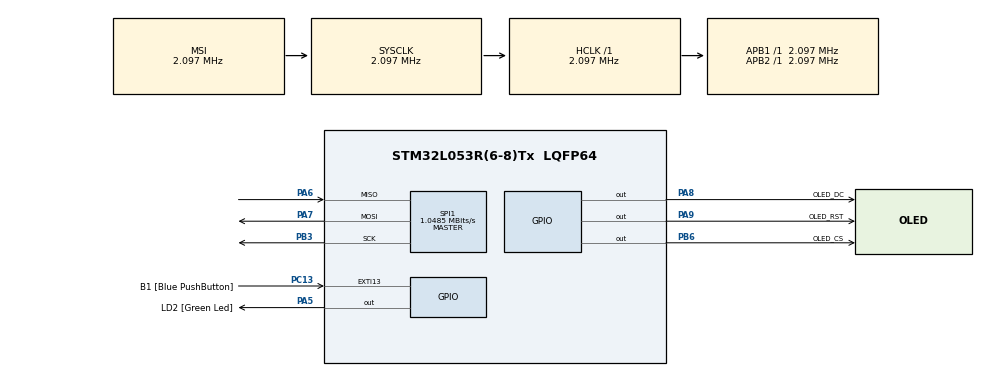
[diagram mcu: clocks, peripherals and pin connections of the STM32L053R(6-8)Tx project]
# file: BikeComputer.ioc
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Mcu.Family=STM32L0
Mcu.Name=STM32L053R(6-8)Tx
Mcu.Package=LQFP64
PA13.GPIO_Label=TMS
PA13.Mode=Serial_Wire
PA13.Signal=SYS_SWDIO
PA14.GPIO_Label=TCK
PA14.Mode=Serial_Wire
PA14.Signal=SYS_SWCLK
PA2.GPIO_Label=USART_TX
PA2.Signal=USART2_TX
PA3.GPIO_Label=USART_RX
PA3.Signal=USART2_RX
PA5.GPIO_Label=LD2 [Green Led]
PA5.Signal=GPIO_Output
PA6.Mode=Full_Duplex_Master
PA6.Signal=SPI1_MISO
PA7.Mode=Full_Duplex_Master
PA7.Signal=SPI1_MOSI
PA8.GPIO_Label=OLED_DC
PA8.Signal=GPIO_Output
PA9.GPIO_Label=OLED_RST
PA9.Signal=GPIO_Output
PB3.Mode=Full_Duplex_Master
PB3.Signal=SPI1_SCK
PB6.GPIO_Label=OLED_CS
PB6.Signal=GPIO_Output
PC13.GPIO_Label=B1 [Blue PushButton]
PC13.GPIO_ModeDefaultEXTI=GPIO_MODE_IT_FALLING
PC13.Signal=GPXTI13
PC14-OSC32_IN.Mode=LSE-External-Oscillator
PC14-OSC32_IN.Signal=RCC_OSC32_IN
PC15-OSC32_OUT.Mode=LSE-External-Oscillator
PC15-OSC32_OUT.Signal=RCC_OSC32_OUT
PH0-OSC_IN.Mode=HSE-External-Clock-Source
PH0-OSC_IN.Signal=RCC_OSC_IN
PH1-OSC_OUT.Signal=RCC_OSC_OUT
ProjectManager.HeapSize=0x200
ProjectManager.StackSize=0x400
ProjectManager.TargetToolchain=SW4STM32
RCC.AHBFreq_Value=2097000
RCC.APB1Freq_Value=2097000
RCC.APB1TimFreq_Value=2097000
RCC.APB2Freq_Value=2097000
RCC.APB2TimFreq_Value=2097000
RCC.HSE_VALUE=8000000
RCC.HSI16_VALUE=16000000
RCC.HSI48_VALUE=48000000
RCC.HSI_VALUE=16000000
RCC.MSI_VALUE=2097000
RCC.SYSCLKFreq_VALUE=2097000
RCC.VCOOutputFreq_Value=48000000
SPI1.CalculateBaudRate=1.0485 MBits/s
SPI1.Direction=SPI_DIRECTION_2LINES
SPI1.Mode=SPI_MODE_MASTER
SPI1.VirtualType=VM_MASTER
board=NUCLEO-L053R8

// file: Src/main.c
/* USER CODE BEGIN Header */
/**
  ******************************************************************************
  * @file           : main.c
  * @brief          : Main program body
  ******************************************************************************
  * @attention
  *
  * <h2><center>&copy; Copyright (c) 2020 STMicroelectronics.
  * All rights reserved.</center></h2>
  *
  * This software component is licensed by ST under BSD 3-Clause license,
  * the "License"; You may not use this file except in compliance with the
  * License. You may obtain a copy of the License at:
  *                        opensource.org/licenses/BSD-3-Clause
  *
  ******************************************************************************
  */
/* USER CODE END Header */

#include "main.h"
#include "OLED_Driver.h"
#include "OLED_GUI.h"

SPI_HandleTypeDef hspi1;

void SystemClock_Config(void);
static void MX_GPIO_Init(void);
static void MX_SPI1_Init(void);

int main(void)
{

  /* MCU Configuration--------------------------------------------------------*/

  /* Reset of all peripherals, Initializes the Flash interface and the Systick. */
  HAL_Init();

  /* Configure the system clock */
  SystemClock_Config();

  /* Initialize all configured peripherals */
  MX_GPIO_Init();
  MX_SPI1_Init();
  /* USER CODE BEGIN 2 */

  	printf("OLED_Init()...\r\n");
  	OLED_Init();

  	printf("OLED_Show()...\r\n");
  	GUI_Show();

  	OLED_Clear(OLED_BACKGROUND);//OLED_BACKGROUND
  	OLED_Display();

  	printf("Show Pic\r\n");
  	GUI_Disbitmap(0  , 2, Signal816  , 16, 8);
  	GUI_Disbitmap(24 , 2, Bluetooth88, 8 , 8);
  	GUI_Disbitmap(40 , 2, Msg816     , 16, 8);
  	GUI_Disbitmap(64 , 2, GPRS88     , 8 , 8);
  	GUI_Disbitmap(90 , 2, Alarm88    , 8 , 8);
  	GUI_Disbitmap(112, 2, Bat816     , 16, 8);

  	printf("Show 16 Gray Map\r\n");
  	GUI_DisGrayMap(0, 73, gImage_flower);

  	GUI_DisString_EN(0 , 52, "MUSIC", &Font12, FONT_BACKGROUND, WHITE);
  	GUI_DisString_EN(48, 52, "MENU" , &Font12, FONT_BACKGROUND, WHITE);
  	GUI_DisString_EN(90, 52, "PHONE", &Font12, FONT_BACKGROUND, WHITE);

  	OLED_Display();

  /* USER CODE END 2 */

  /* Infinite loop */
  while (1)
  {

  }
}

void SystemClock_Config(void)
{
  RCC_OscInitTypeDef RCC_OscInitStruct = {0};
  RCC_ClkInitTypeDef RCC_ClkInitStruct = {0};

  /** Configure the main internal regulator output voltage
  */
  __HAL_PWR_VOLTAGESCALING_CONFIG(PWR_REGULATOR_VOLTAGE_SCALE1);
  /** Initializes the CPU, AHB and APB busses clocks
  */
  RCC_OscInitStruct.OscillatorType = RCC_OSCILLATORTYPE_MSI;
  RCC_OscInitStruct.MSIState = RCC_MSI_ON;
  RCC_OscInitStruct.MSICalibrationValue = 0;
  RCC_OscInitStruct.MSIClockRange = RCC_MSIRANGE_5;
  RCC_OscInitStruct.PLL.PLLState = RCC_PLL_NONE;
  if (HAL_RCC_OscConfig(&RCC_OscInitStruct) != HAL_OK)
  {
    Error_Handler();
  }
  /** Initializes the CPU, AHB and APB busses clocks
  */
  RCC_ClkInitStruct.ClockType = RCC_CLOCKTYPE_HCLK|RCC_CLOCKTYPE_SYSCLK
                              |RCC_CLOCKTYPE_PCLK1|RCC_CLOCKTYPE_PCLK2;
  RCC_ClkInitStruct.SYSCLKSource = RCC_SYSCLKSOURCE_MSI;
  RCC_ClkInitStruct.AHBCLKDivider = RCC_SYSCLK_DIV1;
  RCC_ClkInitStruct.APB1CLKDivider = RCC_HCLK_DIV1;
  RCC_ClkInitStruct.APB2CLKDivider = RCC_HCLK_DIV1;

  if (HAL_RCC_ClockConfig(&RCC_ClkInitStruct, FLASH_LATENCY_0) != HAL_OK)
  {
    Error_Handler();
  }
}

static void MX_SPI1_Init(void)
{

  /* SPI1 parameter configuration*/
  hspi1.Instance = SPI1;
  hspi1.Init.Mode = SPI_MODE_MASTER;
  hspi1.Init.Direction = SPI_DIRECTION_2LINES;
  hspi1.Init.DataSize = SPI_DATASIZE_8BIT;
  hspi1.Init.CLKPolarity = SPI_POLARITY_LOW;
  hspi1.Init.CLKPhase = SPI_PHASE_1EDGE;
  hspi1.Init.NSS = SPI_NSS_SOFT;
  hspi1.Init.BaudRatePrescaler = SPI_BAUDRATEPRESCALER_2;
  hspi1.Init.FirstBit = SPI_FIRSTBIT_MSB;
  hspi1.Init.TIMode = SPI_TIMODE_DISABLE;
  hspi1.Init.CRCCalculation = SPI_CRCCALCULATION_DISABLE;
  hspi1.Init.CRCPolynomial = 7;
  if (HAL_SPI_Init(&hspi1) != HAL_OK)
  {
    Error_Handler();
  }

}

static void MX_GPIO_Init(void)
{
  GPIO_InitTypeDef GPIO_InitStruct = {0};

  /* GPIO Ports Clock Enable */
  __HAL_RCC_GPIOC_CLK_ENABLE();
  __HAL_RCC_GPIOH_CLK_ENABLE();
  __HAL_RCC_GPIOA_CLK_ENABLE();
  __HAL_RCC_GPIOB_CLK_ENABLE();

  /*Configure GPIO pin Output Level */
  HAL_GPIO_WritePin(GPIOA, LD2_Pin|OLED_DC_Pin|OLED_RST_Pin, GPIO_PIN_RESET);

  /*Configure GPIO pin Output Level */
  HAL_GPIO_WritePin(OLED_CS_GPIO_Port, OLED_CS_Pin, GPIO_PIN_RESET);

  /*Configure GPIO pin : B1_Pin */
  GPIO_InitStruct.Pin = B1_Pin;
  GPIO_InitStruct.Mode = GPIO_MODE_IT_FALLING;
  GPIO_InitStruct.Pull = GPIO_NOPULL;
  HAL_GPIO_Init(B1_GPIO_Port, &GPIO_InitStruct);

  /*Configure GPIO pins : USART_TX_Pin USART_RX_Pin */
  GPIO_InitStruct.Pin = USART_TX_Pin|USART_RX_Pin;
  GPIO_InitStruct.Mode = GPIO_MODE_AF_PP;
  GPIO_InitStruct.Pull = GPIO_NOPULL;
  GPIO_InitStruct.Speed = GPIO_SPEED_FREQ_VERY_HIGH;
  GPIO_InitStruct.Alternate = GPIO_AF4_USART2;
  HAL_GPIO_Init(GPIOA, &GPIO_InitStruct);

  /*Configure GPIO pins : LD2_Pin OLED_DC_Pin OLED_RST_Pin */
  GPIO_InitStruct.Pin = LD2_Pin|OLED_DC_Pin|OLED_RST_Pin;
  GPIO_InitStruct.Mode = GPIO_MODE_OUTPUT_PP;
  GPIO_InitStruct.Pull = GPIO_NOPULL;
  GPIO_InitStruct.Speed = GPIO_SPEED_FREQ_LOW;
  HAL_GPIO_Init(GPIOA, &GPIO_InitStruct);

  /*Configure GPIO pin : OLED_CS_Pin */
  GPIO_InitStruct.Pin = OLED_CS_Pin;
  GPIO_InitStruct.Mode = GPIO_MODE_OUTPUT_PP;
  GPIO_InitStruct.Pull = GPIO_NOPULL;
  GPIO_InitStruct.Speed = GPIO_SPEED_FREQ_LOW;
  HAL_GPIO_Init(OLED_CS_GPIO_Port, &GPIO_InitStruct);

}

void Error_Handler(void)
{
}

/************************ (C) COPYRIGHT STMicroelectronics *****END OF FILE****/
